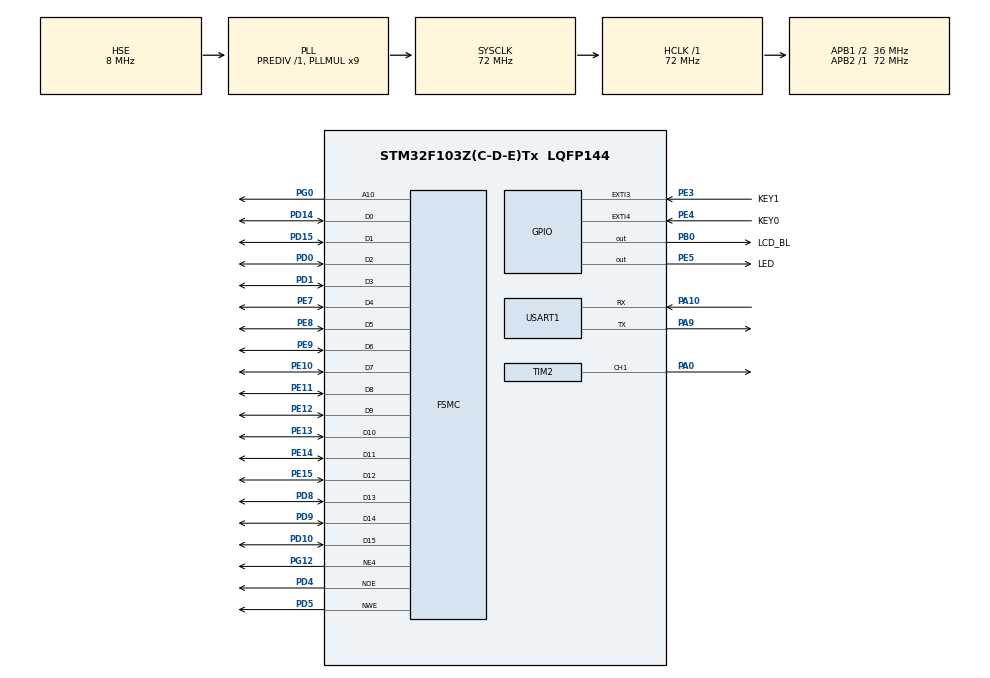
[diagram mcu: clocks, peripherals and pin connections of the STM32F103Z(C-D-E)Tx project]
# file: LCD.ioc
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FSMC.BusTurnAroundDuration1=0
FSMC.DataSetupTime1=60
FSMC.ExtendedAddressSetupTime1=9
FSMC.ExtendedBusTurnAroundDuration1=0
FSMC.ExtendedDataSetupTime1=8
FSMC.ExtendedMode1=FSMC_EXTENDED_MODE_ENABLE
Mcu.Family=STM32F1
Mcu.Name=STM32F103Z(C-D-E)Tx
Mcu.Package=LQFP144
NVIC.EXTI3_IRQn=true\:0\:0\:false\:false\:true\:true\:true\:true
NVIC.EXTI4_IRQn=true\:0\:0\:false\:false\:true\:true\:true\:true
NVIC.PriorityGroup=NVIC_PRIORITYGROUP_4
NVIC.USART1_IRQn=true\:0\:0\:true\:false\:true\:true\:true\:true
OSC_IN.Mode=HSE-External-Oscillator
OSC_IN.Signal=RCC_OSC_IN
OSC_OUT.Mode=HSE-External-Oscillator
OSC_OUT.Signal=RCC_OSC_OUT
PA0-WKUP.Signal=S_TIM2_CH1_ETR
PA10.Mode=Asynchronous
PA10.Signal=USART1_RX
PA13.Mode=Serial_Wire
PA13.Signal=SYS_JTMS-SWDIO
PA14.Mode=Serial_Wire
PA14.Signal=SYS_JTCK-SWCLK
PA9.Mode=Asynchronous
PA9.Signal=USART1_TX
PB0.GPIO_Label=LCD_BL
PB0.GPIO_ModeDefaultOutputPP=GPIO_MODE_OUTPUT_PP
PB0.GPIO_PuPd=GPIO_PULLUP
PB0.GPIO_Speed=GPIO_SPEED_FREQ_HIGH
PB0.Signal=GPIO_Output
PD0.Signal=FSMC_D2_DA2
PD1.Signal=FSMC_D3_DA3
PD10.Signal=FSMC_D15_DA15
PD14.Signal=FSMC_D0_DA0
PD15.Signal=FSMC_D1_DA1
PD4.Signal=FSMC_NOE
PD5.Signal=FSMC_NWE
PD8.Signal=FSMC_D13_DA13
PD9.Signal=FSMC_D14_DA14
PE10.Signal=FSMC_D7_DA7
PE11.Signal=FSMC_D8_DA8
PE12.Signal=FSMC_D9_DA9
PE13.Signal=FSMC_D10_DA10
PE14.Signal=FSMC_D11_DA11
PE15.Signal=FSMC_D12_DA12
PE3.GPIO_Label=KEY1
PE3.GPIO_ModeDefaultEXTI=GPIO_MODE_IT_FALLING
PE3.Signal=GPXTI3
PE4.GPIO_Label=KEY0
PE4.GPIO_ModeDefaultEXTI=GPIO_MODE_IT_FALLING
PE4.Signal=GPXTI4
PE5.GPIO_Label=LED
PE5.Signal=GPIO_Output
PE7.Signal=FSMC_D4_DA4
PE8.Signal=FSMC_D5_DA5
PE9.Signal=FSMC_D6_DA6
PG0.Signal=FSMC_A10
PG12.Mode=NorPsramChipSelect4_1
PG12.Signal=FSMC_NE4
ProjectManager.HeapSize=0x200
ProjectManager.StackSize=0x400
ProjectManager.TargetToolchain=MDK-ARM V5
RCC.AHBFreq_Value=72000000
RCC.APB1CLKDivider=RCC_HCLK_DIV2
RCC.APB1Freq_Value=36000000
RCC.APB1TimFreq_Value=72000000
RCC.APB2Freq_Value=72000000
RCC.APB2TimFreq_Value=72000000
RCC.HCLKFreq_Value=72000000
RCC.PLLMUL=RCC_PLL_MUL9
RCC.PLLSourceVirtual=RCC_PLLSOURCE_HSE
RCC.SYSCLKFreq_VALUE=72000000
RCC.SYSCLKSource=RCC_SYSCLKSOURCE_PLLCLK
RCC.USBFreq_Value=72000000
SH.FSMC_A10.0=FSMC_A10,A10_1
SH.FSMC_D0_DA0.0=FSMC_D0,16b-d1
SH.FSMC_D10_DA10.0=FSMC_D10,16b-d1
SH.FSMC_D11_DA11.0=FSMC_D11,16b-d1
SH.FSMC_D12_DA12.0=FSMC_D12,16b-d1
SH.FSMC_D13_DA13.0=FSMC_D13,16b-d1
SH.FSMC_D14_DA14.0=FSMC_D14,16b-d1
SH.FSMC_D15_DA15.0=FSMC_D15,16b-d1
SH.FSMC_D1_DA1.0=FSMC_D1,16b-d1
SH.FSMC_D2_DA2.0=FSMC_D2,16b-d1
SH.FSMC_D3_DA3.0=FSMC_D3,16b-d1
SH.FSMC_D4_DA4.0=FSMC_D4,16b-d1
SH.FSMC_D5_DA5.0=FSMC_D5,16b-d1
SH.FSMC_D6_DA6.0=FSMC_D6,16b-d1
SH.FSMC_D7_DA7.0=FSMC_D7,16b-d1
SH.FSMC_D8_DA8.0=FSMC_D8,16b-d1
SH.FSMC_D9_DA9.0=FSMC_D9,16b-d1
SH.FSMC_NOE.0=FSMC_NOE,Lcd1
SH.FSMC_NWE.0=FSMC_NWE,Lcd1
SH.S_TIM2_CH1_ETR.0=TIM2_CH1,PWM Generation1 CH1
TIM2.Channel-PWM\ Generation1\ CH1=TIM_CHANNEL_1
TIM2.OCPolarity_1=TIM_OCPOLARITY_LOW
TIM2.Period=199
TIM2.Prescaler=7199
USART1.VirtualMode=VM_ASYNC
VP_TIM2_VS_ClockSourceINT.Mode=Internal
board=custom

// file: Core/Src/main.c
/* USER CODE BEGIN Header */
/**
  ******************************************************************************
  * @file           : main.c
  * @brief          : Main program body
  ******************************************************************************
  * @attention
  *
  * Copyright (c) 2022 STMicroelectronics.
  * All rights reserved.
  *
  * This software is licensed under terms that can be found in the LICENSE file
  * in the root directory of this software component.
  * If no LICENSE file comes with this software, it is provided AS-IS.
  *
  ******************************************************************************
  */
/* USER CODE END Header */
#include "main.h"
#include "tim.h"
#include "usart.h"
#include "gpio.h"
#include "fsmc.h"

/* USER CODE BEGIN Includes */
#include "ILI93xx.h"
#include <string.h>
/* USER CODE END Includes */

/* USER CODE BEGIN PD */
#define RXBUFFERSIZE  256     		//最大接收字节数
char RxBuffer[RXBUFFERSIZE];   		//接收数据
uint8_t aRxBuffer;								//接收中断缓冲
//uint8_t aRxBuffers[20];
uint8_t Uart1_Rx_Cnt = 0;					//接收缓冲计数

extern uint8_t message[200]; 			//接收字符串缓冲区
extern uint8_t offset; 						//接收字符串缓冲区的下标及大小
extern uint8_t mesg; 							//用于中断时，接收单个字符
extern uint8_t RX_Flag; 					//发生中断的标志
/* USER CODE END PD */

/* USER CODE BEGIN PV */
int steAngleLv = 0;
int steAngleNum = 90;
/* USER CODE END PV */

void SystemClock_Config(void);

/* USER CODE BEGIN 0 */

void delay_ms(uint16_t time)
{
   uint16_t i=0;
   while(time--)
   {
      i=15000;  //自己定义
      while(i--) ;
   }
}

void HAL_GPIO_EXTI_Callback(uint16_t GPIO_Pin)
{
  if(GPIO_Pin==KEY0_Pin)
  {
		delay_ms(400);
    if(HAL_GPIO_ReadPin(KEY0_GPIO_Port,KEY0_Pin)==0)
    {
			if(steAngleLv > -2)
				steAngleLv --;
			LCD_ShowxNum(280, 110, steAngleLv2Num(steAngleLv), 3, 24, 0);
    }
		//delay_ms(200);
    __HAL_GPIO_EXTI_CLEAR_IT(KEY0_Pin);
  }
  else if(GPIO_Pin==KEY1_Pin)
  {
		delay_ms(400);
    if(HAL_GPIO_ReadPin(KEY1_GPIO_Port,KEY1_Pin)==0)
    {
			if(steAngleLv < 2)
				steAngleLv ++;
			LCD_ShowxNum(280, 110, steAngleLv2Num(steAngleLv), 3, 24, 0);
    }
		//delay_ms(200);
    __HAL_GPIO_EXTI_CLEAR_IT(KEY1_Pin);
  }
}

int steAngleLv2CCR(int steAngleLv){
	return 185 - steAngleLv * 5;
}

int steAngleLv2Num(int steAngleLv){
	return 90 - steAngleLv * 45;
}

void HAL_UART_RxCpltCallback(UART_HandleTypeDef *huart){
	HAL_GPIO_TogglePin(LED_GPIO_Port,LED_Pin);
	// aRxBuffers[5] = '\0';
	// HAL_UART_Transmit(&huart1, message, offset, 100);
	if(huart == &huart1){
		if((char)aRxBuffer == 'a'){
			if(steAngleLv < 2){
				steAngleLv ++;
				HAL_UART_Transmit(&huart1, "逆时针旋转45度\r\n", 16, 0xFFFF);
			}
			else{
				HAL_UART_Transmit(&huart1, "最大角度\r\n", 10, 0xFFFF);
			}
			LCD_ShowxNum(280, 110, steAngleLv2Num(steAngleLv), 3, 24, 0);
			//HAL_UART_Transmit(&huart1, &cmd, 10,0xFFFF);
		}
		else if((char)aRxBuffer == 'c'){
			if(steAngleLv > -2){
				steAngleLv --;
			HAL_UART_Transmit(&huart1, "顺时针旋转45度\r\n", 16, 0xFFFF);
			}
			else{
				HAL_UART_Transmit(&huart1, "最大角度\r\n", 10, 0xFFFF);
			}
			LCD_ShowxNum(280, 110, steAngleLv2Num(steAngleLv), 3, 24, 0);
		}
	}
	HAL_UART_Receive_IT(&huart1, (uint8_t *)&aRxBuffer, 1);
}

/* USER CODE END 0 */

int main(void)
{

  /* MCU Configuration--------------------------------------------------------*/

  /* Reset of all peripherals, Initializes the Flash interface and the Systick. */
  HAL_Init();

  /* Configure the system clock */
  SystemClock_Config();

  /* Initialize all configured peripherals */
  MX_GPIO_Init();
  MX_FSMC_Init();
  MX_USART1_UART_Init();
  MX_TIM2_Init();
  /* USER CODE BEGIN 2 */
	HAL_TIM_PWM_Start(&htim2,TIM_CHANNEL_1);
	TFTLCD_Init();
	LCD_Clear(BLUE);
	LCD_ShowString(30,40,210,24,24, "What a nice day!");
	LCD_ShowString(30,70,200,16,16, "TFTLCD TEST");
	LCD_ShowString(30,90,200,16,16, "2020/7/29");
	LCD_ShowString(30, 110, 250, 24, 24, "The angle is: ");
	LCD_ShowxNum(280, 110, steAngleLv2Num(steAngleLv), 3, 24, 0);
	HAL_UART_Receive_IT(&huart1, (uint8_t *)&aRxBuffer, 1);
	// printf("Z小旋测试\n");
  /* USER CODE END 2 */

  /* Infinite loop */
  while (1)
  {

    /* USER CODE BEGIN 3 */
		__HAL_TIM_SetCompare(&htim2, TIM_CHANNEL_1, steAngleLv2CCR(steAngleLv));
		HAL_GPIO_TogglePin(LED_GPIO_Port,LED_Pin);
  }
  /* USER CODE END 3 */
}

void SystemClock_Config(void)
{
  RCC_OscInitTypeDef RCC_OscInitStruct = {0};
  RCC_ClkInitTypeDef RCC_ClkInitStruct = {0};

  /** Initializes the RCC Oscillators according to the specified parameters
  * in the RCC_OscInitTypeDef structure.
  */
  RCC_OscInitStruct.OscillatorType = RCC_OSCILLATORTYPE_HSE;
  RCC_OscInitStruct.HSEState = RCC_HSE_ON;
  RCC_OscInitStruct.HSEPredivValue = RCC_HSE_PREDIV_DIV1;
  RCC_OscInitStruct.HSIState = RCC_HSI_ON;
  RCC_OscInitStruct.PLL.PLLState = RCC_PLL_ON;
  RCC_OscInitStruct.PLL.PLLSource = RCC_PLLSOURCE_HSE;
  RCC_OscInitStruct.PLL.PLLMUL = RCC_PLL_MUL9;
  if (HAL_RCC_OscConfig(&RCC_OscInitStruct) != HAL_OK)
  {
    Error_Handler();
  }

  /** Initializes the CPU, AHB and APB buses clocks
  */
  RCC_ClkInitStruct.ClockType = RCC_CLOCKTYPE_HCLK|RCC_CLOCKTYPE_SYSCLK
                              |RCC_CLOCKTYPE_PCLK1|RCC_CLOCKTYPE_PCLK2;
  RCC_ClkInitStruct.SYSCLKSource = RCC_SYSCLKSOURCE_PLLCLK;
  RCC_ClkInitStruct.AHBCLKDivider = RCC_SYSCLK_DIV1;
  RCC_ClkInitStruct.APB1CLKDivider = RCC_HCLK_DIV2;
  RCC_ClkInitStruct.APB2CLKDivider = RCC_HCLK_DIV1;

  if (HAL_RCC_ClockConfig(&RCC_ClkInitStruct, FLASH_LATENCY_2) != HAL_OK)
  {
    Error_Handler();
  }
}

void Error_Handler(void)
{
  __disable_irq();
  while (1)
  {
  }
}
